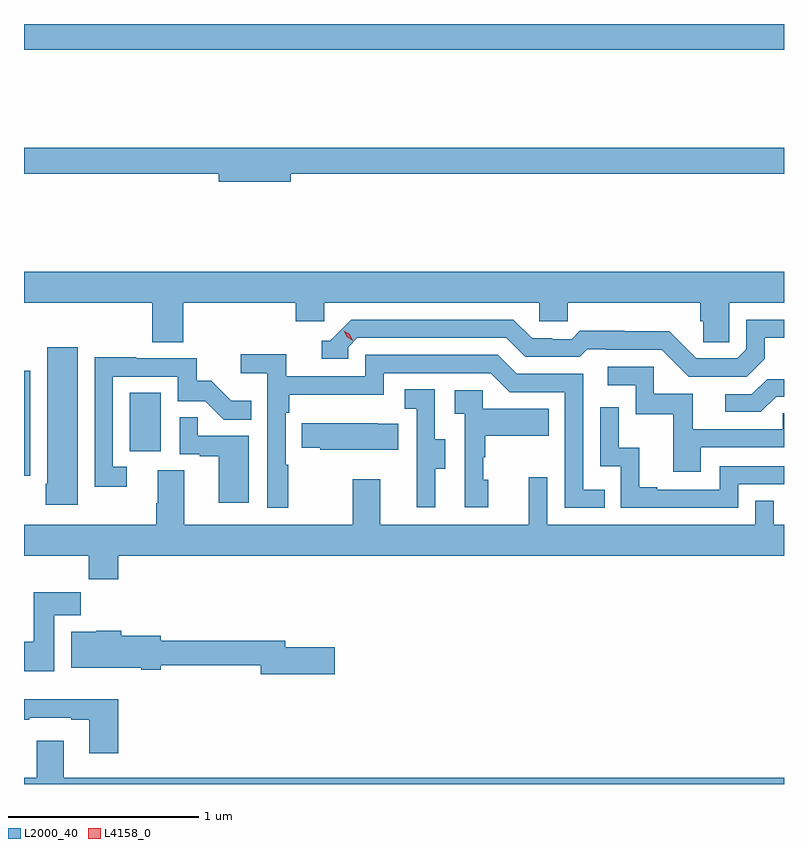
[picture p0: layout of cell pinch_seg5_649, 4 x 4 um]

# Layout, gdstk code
import gdstk
lib = gdstk.Library(unit=1e-6, precision=1e-09)
def R(c, l, rs):  # rectangles x0, y0, x1, y1
    for r in rs: c.add(gdstk.rectangle(r[:2], r[2:], *l))
def P(c, l, *ps):  # polygons
    for p in ps: c.add(gdstk.Polygon(p, *l))
L2000_40 = (2000, 40)
L4158_0 = (4158, 0)

pinch_seg5_649 = lib.new_cell('pinch_seg5_649')
R(pinch_seg5_649, L2000_40, [(1070.967,851.854,1071,852.406), (1071.524,851.982,1071.688,852.289), (1070.967,854.096,1074.967,854.231)])
P(pinch_seg5_649, L2000_40, [(1072.372,853.444),(1074.967,853.444),(1074.967,853.58),(1070.967,853.58),(1070.967,853.444),(1071.992,853.444),(1071.992,853.402),(1072.372,853.402)],
  [(1070.967,852.764),(1071.641,852.764),(1071.641,852.556),(1071.806,852.556),(1071.806,852.764),(1072.397,852.764),(1072.397,852.666),(1072.548,852.666),(1072.548,852.764),(1073.679,852.764),(1073.679,852.666),(1073.829,852.666),(1073.829,852.764),(1074.527,852.764),(1074.527,852.666),(1074.541,852.666),(1074.541,852.556),(1074.678,852.556),(1074.678,852.764),(1074.967,852.764),(1074.967,852.928),(1070.967,852.928)],
  [(1074.865,852.469),(1074.865,852.579),(1074.967,852.579),(1074.967,852.675),(1074.768,852.675),(1074.768,852.519),(1074.72,852.471),(1074.504,852.471),(1074.362,852.613),(1074.126,852.613),(1074.126,852.616),(1073.893,852.616),(1073.851,852.573),(1073.748,852.573),(1073.748,852.576),(1073.641,852.576),(1073.542,852.675),(1072.689,852.675),(1072.578,852.564),(1072.535,852.564),(1072.535,852.468),(1072.674,852.468),(1072.674,852.531),(1072.722,852.579),(1073.505,852.579),(1073.604,852.48),(1073.893,852.48),(1073.932,852.519),(1074.031,852.519),(1074.031,852.516),(1074.324,852.516),(1074.465,852.375),(1074.771,852.375)],
  [(1071.25,852.529),(1071.089,852.529),(1071.089,851.812),(1071.082,851.812),(1071.082,851.7),(1071.25,851.7)],
  [(1072.357,851.912),(1072.344,851.912),(1072.344,852.185),(1072.364,852.185),(1072.364,852.281),(1072.86,852.281),(1072.86,852.393),(1073.424,852.393),(1073.523,852.294),(1073.814,852.294),(1073.814,851.685),(1074.023,851.685),(1074.023,851.781),(1073.91,851.781),(1073.91,852.39),(1073.56,852.39),(1073.461,852.489),(1072.764,852.489),(1072.764,852.378),(1072.346,852.378),(1072.346,852.494),(1072.107,852.494),(1072.107,852.392),(1072.248,852.392),(1072.248,851.685),(1072.357,851.685)],
  [(1071.508,851.901),(1071.435,851.901),(1071.435,852.375),(1071.777,852.375),(1071.777,852.246),(1071.921,852.246),(1072.019,852.148),(1072.163,852.148),(1072.163,852.247),(1072.059,852.247),(1071.952,852.354),(1071.876,852.354),(1071.876,852.471),(1071.557,852.471),(1071.557,852.476),(1071.339,852.476),(1071.339,851.796),(1071.508,851.796)],
  [(1074.529,852.003),(1074.967,852.003),(1074.967,852.183),(1074.961,852.183),(1074.961,852.099),(1074.487,852.099),(1074.487,852.285),(1074.282,852.285),(1074.282,852.426),(1074.039,852.426),(1074.039,852.33),(1074.186,852.33),(1074.186,852.177),(1074.385,852.177),(1074.385,851.874),(1074.529,851.874)],
  [(1074.925,852.27),(1074.967,852.27),(1074.967,852.362),(1074.878,852.362),(1074.798,852.282),(1074.657,852.282),(1074.657,852.189),(1074.844,852.189)],
  [(1073.131,851.89),(1073.185,851.89),(1073.185,852.045),(1073.13,852.045),(1073.13,852.308),(1072.971,852.308),(1072.971,852.205),(1073.034,852.205),(1073.034,851.901),(1073.033,851.901),(1073.033,851.688),(1073.131,851.688)],
  [(1073.41,851.832),(1073.385,851.832),(1073.385,851.951),(1073.395,851.951),(1073.395,852.065),(1073.729,852.065),(1073.729,852.205),(1073.382,852.205),(1073.382,852.303),(1073.235,852.303),(1073.235,852.179),(1073.286,852.179),(1073.286,851.688),(1073.41,851.688)],
  [(1074.726,851.808),(1074.967,851.808),(1074.967,851.904),(1074.63,851.904),(1074.63,851.781),(1074.301,851.781),(1074.301,851.794),(1074.206,851.794),(1074.206,852.002),(1074.096,852.002),(1074.096,852.214),(1074,852.214),(1074,851.904),(1074.108,851.904),(1074.108,851.685),(1074.726,851.685)],
  [(1072.15,852.063),(1071.881,852.063),(1071.881,852.161),(1071.786,852.161),(1071.786,851.967),(1071.893,851.967),(1071.893,851.955),(1071.992,851.955),(1071.992,851.712),(1072.15,851.712)],
  [(1072.937,852.127),(1072.829,852.127),(1072.829,852.13),(1072.429,852.13),(1072.429,852.001),(1072.527,852.001),(1072.527,851.99),(1072.937,851.99)],
  [(1071.464,851.432),(1074.967,851.432),(1074.967,851.596),(1074.912,851.596),(1074.912,851.723),(1074.816,851.723),(1074.816,851.596),(1073.721,851.596),(1073.721,851.845),(1073.624,851.845),(1073.624,851.596),(1072.843,851.596),(1072.843,851.836),(1072.696,851.836),(1072.696,851.596),(1071.811,851.596),(1071.811,851.882),(1071.671,851.882),(1071.671,851.708),(1071.664,851.708),(1071.664,851.596),(1070.967,851.596),(1070.967,851.432),(1071.307,851.432),(1071.307,851.308),(1071.464,851.308)],
  [(1071.127,851.12),(1071.266,851.12),(1071.266,851.239),(1071.017,851.239),(1071.017,850.98),(1070.967,850.98),(1070.967,850.824),(1071.127,850.824)],
  [(1072.603,850.95),(1072.342,850.95),(1072.342,850.984),(1071.688,850.984),(1071.688,851.01),(1071.479,851.01),(1071.479,851.038),(1071.348,851.038),(1071.348,851.032),(1071.215,851.032),(1071.215,850.844),(1071.584,850.844),(1071.584,850.832),(1071.688,850.832),(1071.688,850.855),(1072.214,850.855),(1072.214,850.808),(1072.603,850.808)],
  [(1071.464,850.678),(1070.967,850.678),(1070.967,850.569),(1070.995,850.569),(1070.995,850.581),(1071.215,850.581),(1071.215,850.569),(1071.311,850.569),(1071.311,850.392),(1071.464,850.392)],
  [(1074.967,850.264),(1071.175,850.264),(1071.175,850.459),(1071.035,850.459),(1071.035,850.264),(1070.967,850.264),(1070.967,850.231),(1074.967,850.231)])
P(pinch_seg5_649, L4158_0, [(1072.697,852.564),(1072.666,852.584),(1072.65,852.616),(1072.65,852.617),(1072.651,852.617),(1072.681,852.597),(1072.697,852.565),(1072.697,852.564)])

lib.write_gds('pinch_seg5_649.gds')
